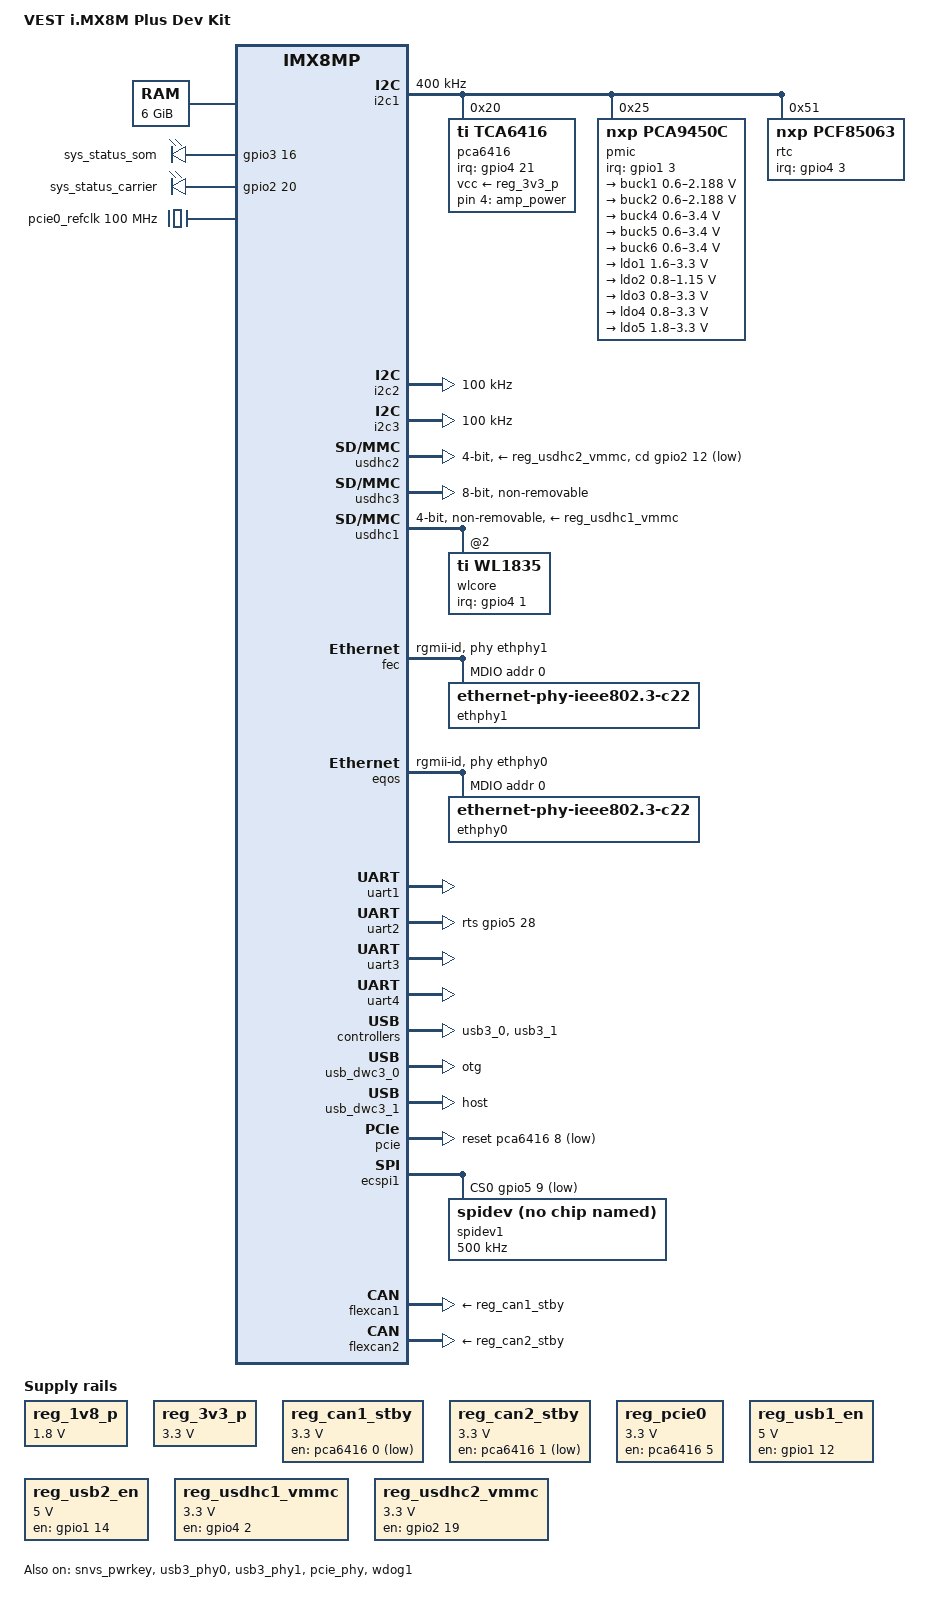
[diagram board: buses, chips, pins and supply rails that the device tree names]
// SPDX-License-Identifier: (GPL-2.0-or-later OR MIT)
/*
 * The VEST i.MX8M Plus Dev Kit consists of a carrier board and
 * a SOM (of SO-DIMM type, not SMARC).
 *
 * Copyright (C) 2023 VEST
 */

/dts-v1/;

#include <dt-bindings/net/ti-dp83867.h>
#include <dt-bindings/phy/phy-imx8-pcie.h>
#include <dt-bindings/usb/pd.h>
#include "imx8mp.dtsi"

/ {
	model = "VEST i.MX8M Plus Dev Kit";
	compatible = "vest,e2i-plus", "fsl,imx8mp-evk", "fsl,imx8mp";

	chosen {
		bootargs = "console=ttymxc0,115200 earlycon=ec_imx6q,0x30860000,115200";
		stdout-path = &uart1;
	};

	memory@40000000 {
		device_type = "memory";
		reg = <0x0 0x40000000 0 0xc0000000>,
		      <0x1 0x00000000 0 0xc0000000>;
	};

	gpio_leds: gpio-leds {
		compatible = "gpio-leds";
		pinctrl-names = "default";
		pinctrl-0 = <&pinctrl_gpio_led>;

	        amp_power {
		        gpios = <&pca6416 4 GPIO_ACTIVE_HIGH>;
		        default-state = "off";
	        };

		sys_status_som {
			gpios = <&gpio3 16 GPIO_ACTIVE_HIGH>;
			default-state = "on";
		};

		sys_status_carrier {
			gpios = <&gpio2 20 GPIO_ACTIVE_HIGH>;
			default-state = "on";
		};
	};

	pcie0_refclk: pcie0-refclk {
		compatible = "fixed-clock";
		#clock-cells = <0>;
		clock-frequency = <100000000>;
	};

	reg_1v8_p: regulator-1v8-p {
		compatible = "regulator-fixed";
		regulator-name = "1v8_p";
		regulator-min-microvolt = <1800000>;
		regulator-max-microvolt = <1800000>;
	};

	reg_3v3_p: regulator-3v3-p {
		compatible = "regulator-fixed";
		regulator-name = "3v3_p";
		regulator-min-microvolt = <3300000>;
		regulator-max-microvolt = <3300000>;
	};

	reg_can1_stby: regulator-can1-stby {
		compatible = "regulator-fixed";
		regulator-name = "can1-stby";
		pinctrl-names = "default";
		pinctrl-0 = <&pinctrl_flexcan1_reg>;
		regulator-min-microvolt = <3300000>;
		regulator-max-microvolt = <3300000>;
		gpio = <&pca6416 0 GPIO_ACTIVE_LOW>;
	};

	reg_can2_stby: regulator-can2-stby {
		compatible = "regulator-fixed";
		regulator-name = "can2-stby";
		pinctrl-names = "default";
		pinctrl-0 = <&pinctrl_flexcan2_reg>;
		regulator-min-microvolt = <3300000>;
		regulator-max-microvolt = <3300000>;
		gpio = <&pca6416 1 GPIO_ACTIVE_LOW>;
	};

	reg_pcie0: regulator-pcie {
		compatible = "regulator-fixed";
		pinctrl-names = "default";
		pinctrl-0 = <&pinctrl_pcie0_reg>;
		regulator-name = "MPCIE_3V3";
		regulator-min-microvolt = <3300000>;
		regulator-max-microvolt = <3300000>;
		gpio = <&pca6416 5 GPIO_ACTIVE_HIGH>;
		enable-active-high;
		regulator-always-on;
	};

	reg_usb1_en: regulator-usb1-en {
		compatible = "regulator-fixed";
		regulator-name = "usb1-en";
		pinctrl-names = "default";
		pinctrl-0 = <&pinctrl_usb1en>;
		regulator-min-microvolt = <5000000>;
		regulator-max-microvolt = <5000000>;
		gpio = <&gpio1 12 GPIO_ACTIVE_HIGH>;
		enable-active-high;
		status = "okay";
	};

	reg_usb2_en: regulator-usb2-en {
		compatible = "regulator-fixed";
		regulator-name = "usb2-en";
		pinctrl-names = "default";
		pinctrl-0 = <&pinctrl_usb2en>;
		regulator-min-microvolt = <5000000>;
		regulator-max-microvolt = <5000000>;
		gpio = <&gpio1 14 GPIO_ACTIVE_HIGH>;
		enable-active-high;
		status = "okay";
	};

	reg_usdhc1_vmmc: regulator-usdhc1 {
		compatible = "regulator-fixed";
		pinctrl-names = "default";
		pinctrl-0 = <&pinctrl_reg_usdhc1_vmmc>;
		regulator-name = "usdhc1_vmmc";
		regulator-min-microvolt = <3300000>;
		regulator-max-microvolt = <3300000>;
		gpio = <&gpio4 2 GPIO_ACTIVE_HIGH>;
		enable-active-high;
		startup-delay-us = <1000000>;
	};

	reg_usdhc2_vmmc: regulator-usdhc2 {
		compatible = "regulator-fixed";
		pinctrl-names = "default";
		pinctrl-0 = <&pinctrl_reg_usdhc2_vmmc>;
		regulator-name = "usdhc2_vmmc";
		regulator-min-microvolt = <3300000>;
		regulator-max-microvolt = <3300000>;
		gpio = <&gpio2 19 GPIO_ACTIVE_HIGH>;
		enable-active-high;
	};
};

&i2c1 {
	clock-frequency = <400000>;
	pinctrl-names = "default";
	pinctrl-0 = <&pinctrl_i2c1>;
	status = "okay";

	pca6416: gpio@20 {
                /* MAXIM/NXP/TI PCA95xx I2C GPIO multiplexer */
		compatible = "ti,tca6416";
		reg = <0x20>;
                vcc-supply = <&reg_3v3_p>;
		gpio-controller;
		#gpio-cells = <2>;
		interrupt-controller;
		#interrupt-cells = <2>;
		pinctrl-names = "default";
		pinctrl-0 = <&pinctrl_gpio>;
		interrupt-parent = <&gpio4>;
		interrupts = <21 IRQ_TYPE_LEVEL_LOW>;
	};

	pmic: pca9450@25 {
		compatible = "nxp,pca9450c";
		reg = <0x25>;
		/* PMIC PCA9450 PMIC_nINT GPIO1_IO3 */
		pinctrl-names = "default";
		pinctrl-0 = <&pinctrl_pmic>;
		interrupt-parent = <&gpio1>;
		interrupts = <3 GPIO_ACTIVE_LOW>;

		pmic_regulators: regulators {
			buck1: BUCK1 {
				regulator-name = "BUCK1";
				regulator-min-microvolt = <600000>;
				regulator-max-microvolt = <2187500>;
				regulator-boot-on;
				regulator-always-on;
				regulator-ramp-delay = <3125>;
			};

			buck2: BUCK2 {
				regulator-name = "BUCK2";
				regulator-min-microvolt = <600000>;
				regulator-max-microvolt = <2187500>;
				regulator-boot-on;
				regulator-always-on;
				regulator-ramp-delay = <3125>;
				nxp,dvs-run-voltage = <950000>;
				nxp,dvs-standby-voltage = <850000>;
			};

			buck4: BUCK4{
				regulator-name = "BUCK4";
				regulator-min-microvolt = <600000>;
				regulator-max-microvolt = <3400000>;
				regulator-boot-on;
				regulator-always-on;
			};

			buck5: BUCK5{
				regulator-name = "BUCK5";
				regulator-min-microvolt = <600000>;
				regulator-max-microvolt = <3400000>;
				regulator-boot-on;
				regulator-always-on;
			};

			buck6: BUCK6 {
				regulator-name = "BUCK6";
				regulator-min-microvolt = <600000>;
				regulator-max-microvolt = <3400000>;
				regulator-boot-on;
				regulator-always-on;
			};

			ldo1: LDO1 {
				regulator-name = "LDO1";
				regulator-min-microvolt = <1600000>;
				regulator-max-microvolt = <3300000>;
				regulator-boot-on;
				regulator-always-on;
			};

			ldo2: LDO2 {
				regulator-name = "LDO2";
				regulator-min-microvolt = <800000>;
				regulator-max-microvolt = <1150000>;
				regulator-boot-on;
				regulator-always-on;
			};

			ldo3: LDO3 {
				regulator-name = "LDO3";
				regulator-min-microvolt = <800000>;
				regulator-max-microvolt = <3300000>;
				regulator-boot-on;
				regulator-always-on;
			};

			ldo4: LDO4 {
				regulator-name = "LDO4";
				regulator-min-microvolt = <800000>;
				regulator-max-microvolt = <3300000>;
				regulator-boot-on;
				regulator-always-on;
			};

			ldo5: LDO5 {
				regulator-name = "LDO5";
				regulator-min-microvolt = <1800000>;
				regulator-max-microvolt = <3300000>;
				regulator-boot-on;
				regulator-always-on;
			};
		};
	};

	rtc: pcf85063@51 {
		compatible = "nxp,pcf85063";
		pinctrl-names = "default";
		pinctrl-0 = <&pinctrl_rtc_pcf85063>;
		reg = <0x51>;
		interrupt-parent = <&gpio4>;
		interrupts = <3 2>;
		status = "okay";
	};
};

&i2c2 {
	clock-frequency = <100000>;
	pinctrl-names = "default";
	pinctrl-0 = <&pinctrl_i2c2>;
	status = "okay";

        /* mipi_dsi (disabled as hardware unavailable at the moment) */
	adv_bridge: adv7535@3d {
		compatible = "adi,adv7535";
		reg = <0x3d>;
		adi,addr-cec = <0x3b>;
		adi,dsi-lanes = <4>;
		status = "disabled";
	};

	LVDS1_TOUCH: egalax@2a {
		compatible = "eeti,egalax_ts";
		reg = <0x2a>;
		interrupt-parent = <&gpio4>;
		interrupts = <22 2>;
		status = "disabled";
	};

	LVDS2_TOUCH: ili251x@41 {
		compatible = "ili251x";
		reg = <0x41>;
		interrupt-parent = <&gpio4>;
		interrupts = <22 IRQ_TYPE_EDGE_FALLING>;
		max-fingers = <6>;
		status = "disabled";
	};

	LVDS4_TOUCH: goodix@5d {
		compatible = "goodix,gt928";
		reg = <0x5d>;
		interrupt-parent = <&gpio4>;
		interrupts = <22 2>;
		/*reset-gpios = <&gpio4 0 0>;*/
		irq-flags = <2>;
		status = "disabled";
	};

	LVDS5_TOUCH: sitronix@55 {
		compatible = "sitronix,st1633i";
		reg = <0x55>;
		interrupt-parent = <&gpio4>;
		interrupts = <22 2>;
		sitronix,reset-gpios = <&gpio4 0 0>;
		sitronix,interrupt-gpios = <&gpio4 22 0>;
		sitronix,panel-coords = <0 0 1024 600>;
		sitronix,display-coords = <0 0 1024 600>;
		status = "disabled";
	};
};

&i2c3 {
	clock-frequency = <100000>;
	pinctrl-names = "default";
	pinctrl-0 = <&pinctrl_i2c3>;
	status = "okay";
};

&A53_0 {
	cpu-supply = <&buck2>;
};

&A53_1 {
	cpu-supply = <&buck2>;
};

&A53_2 {
	cpu-supply = <&buck2>;
};

&A53_3 {
	cpu-supply = <&buck2>;
};

&snvs_pwrkey {
	status = "okay";
};

&usdhc2 {
	assigned-clocks = <&clk IMX8MP_CLK_USDHC2>;
	assigned-clock-rates = <400000000>;
	pinctrl-names = "default", "state_100mhz", "state_200mhz";
	pinctrl-0 = <&pinctrl_usdhc2>, <&pinctrl_usdhc2_gpio>;
	pinctrl-1 = <&pinctrl_usdhc2_100mhz>, <&pinctrl_usdhc2_gpio>;
	pinctrl-2 = <&pinctrl_usdhc2_200mhz>, <&pinctrl_usdhc2_gpio>;
	cd-gpios = <&gpio2 12 GPIO_ACTIVE_LOW>;
	vmmc-supply = <&reg_usdhc2_vmmc>;
	bus-width = <4>;
	status = "okay";
};

&usdhc3 {
	assigned-clocks = <&clk IMX8MP_CLK_USDHC3>;
	assigned-clock-rates = <400000000>;
	pinctrl-names = "default", "state_100mhz", "state_200mhz";
	pinctrl-0 = <&pinctrl_usdhc3>;
	pinctrl-1 = <&pinctrl_usdhc3_100mhz>;
	pinctrl-2 = <&pinctrl_usdhc3_200mhz>;
	bus-width = <8>;
	non-removable;
	status = "okay";
};

&usdhc1 {
	assigned-clocks = <&clk IMX8MP_CLK_USDHC1>;
	assigned-clock-rates = <400000000>;
	pinctrl-names = "default", "state_100mhz", "state_200mhz";
	pinctrl-0 = <&pinctrl_usdhc1>;
	pinctrl-1 = <&pinctrl_usdhc1_100mhz>;
	pinctrl-2 = <&pinctrl_usdhc1_200mhz>;
	vmmc-supply = <&reg_usdhc1_vmmc>;
	bus-width = <4>;
	keep-power-in-suspend;
	enable-sdio-wakeup;
	cap-power-off-card;
	non-removable;
	#address-cells = <0x1>;
	#size-cells = <0x0>;
	status = "okay";

	wlcore: wlcore@0 {
		compatible = "ti,wl1835";
		reg = <2>;
		platform-quirks = <1>;
		interrupt-parent = <&gpio4>;
		interrupts = <1 IRQ_TYPE_EDGE_RISING>;
	};
};

/* eth0 (cn5, fec) */
&fec {
	pinctrl-names = "default";
	pinctrl-0 = <&pinctrl_fec>;
	phy-handle = <&ethphy1>;
	phy-mode = "rgmii-id";
	fsl,magic-packet;
	status = "okay";

	mdio {
		#address-cells = <1>;
		#size-cells = <0>;

		ethphy1: ethernet-phy@0 {
			compatible = "ethernet-phy-ieee802.3-c22";
			reg = <0>;
			eee-broken-1000t;
			ti,clk-output-sel = <DP83867_CLK_O_SEL_OFF>;
			ti,fifo-depth = <DP83867_PHYCR_FIFO_DEPTH_4_B_NIB>;
			ti,min-output-impedance;
			ti,rx-internal-delay = <DP83867_RGMIIDCTL_2_00_NS>;
			ti,tx-internal-delay = <DP83867_RGMIIDCTL_2_00_NS>;
		};
	};
};

/* eth1 (cn5, eqos) */
&eqos {
	pinctrl-names = "default";
	pinctrl-0 = <&pinctrl_eqos>;
	phy-mode = "rgmii-id";
	phy-handle = <&ethphy0>;
	status = "okay";

	mdio {
		compatible = "snps,dwmac-mdio";
		#address-cells = <1>;
		#size-cells = <0>;

		ethphy0: ethernet-phy@0 {
			compatible = "ethernet-phy-ieee802.3-c22";
			reg = <0>;
			eee-broken-1000t;
			ti,clk-output-sel = <DP83867_CLK_O_SEL_OFF>;
			ti,fifo-depth = <DP83867_PHYCR_FIFO_DEPTH_4_B_NIB>;
			ti,min-output-impedance;
			ti,rx-internal-delay = <DP83867_RGMIIDCTL_2_00_NS>;
			ti,tx-internal-delay = <DP83867_RGMIIDCTL_2_00_NS>;
		};
	};
};

/* uart1 (console) */
&uart1 {
	pinctrl-names = "default";
	pinctrl-0 = <&pinctrl_uart1>;
	/delete-property/ dmas;
	/delete-property/ dma-names;
	/delete-property/ fsl,uart-has-rtscts;
	status = "okay";
};

/* uart2 (rs485/rs232, rs485 default) */
&uart2 {
	pinctrl-names = "default";
	pinctrl-0 = <&pinctrl_uart2>;
	assigned-clocks = <&clk IMX8MP_CLK_UART2>;
	assigned-clock-parents = <&clk IMX8MP_SYS_PLL1_80M>;
	dmas = <&sdma1 24 4 0>, <&sdma1 25 4 0>;
	dma-names = "rx", "tx";
	linux,rs485-enabled-at-boot-time;
	rts-gpios = <&gpio5 28 GPIO_ACTIVE_HIGH>;
	status = "okay";
};

/* uart3 (bluetooth) */
&uart3 {
	pinctrl-names = "default";
	pinctrl-0 = <&pinctrl_uart3>;
	assigned-clocks = <&clk IMX8MP_CLK_UART3>;
	assigned-clock-parents = <&clk IMX8MP_SYS_PLL1_80M>;
	fsl,uart-has-rtscts;
	status = "okay";
};

/* uart4 (m4 core console, disable it before running m4 core application from u-boot) */
&uart4 {
	pinctrl-names = "default";
	pinctrl-0 = <&pinctrl_uart4>;
	status = "okay";
};

/* usb1 (type c, otg/host) */
&usb3_phy0 {
	vbus-supply = <&reg_usb1_en>;
	fsl,phy-tx-vref-tune = <0xe>;
	fsl,phy-tx-preemp-amp-tune = <3>;
	fsl,phy-tx-vboost-level = <5>;
	fsl,phy-comp-dis-tune = <7>;
	fsl,pcs-tx-deemph-3p5db = <0x21>;
	fsl,phy-pcs-tx-swing-full = <0x7f>;
	status = "okay";
};

&usb3_0 {
	status = "okay";
};

&usb_dwc3_0 {
	dr_mode = "otg";
	hnp-disable;
	srp-disable;
	adp-disable;
	usb-role-switch;
	role-switch-default-mode = "none";
	snps,dis-u1-entry-quirk;
	snps,dis-u2-entry-quirk;
	status = "okay";
};

/* usb2 (type a, host) */
&usb3_phy1 {
	vbus-supply = <&reg_usb2_en>;
	fsl,phy-tx-preemp-amp-tune = <3>;
	fsl,phy-tx-vref-tune = <0xb>;
	status = "okay";
};

&usb3_1 {
	status = "okay";
};

&usb_dwc3_1 {
	dr_mode = "host";
	status = "okay";
};

&pcie {
	pinctrl-names = "default";
	pinctrl-0 = <&pinctrl_pcie0>;
	reset-gpio = <&pca6416 8 GPIO_ACTIVE_LOW>;
	clocks = <&clk IMX8MP_CLK_HSIO_ROOT>,
        	 <&clk IMX8MP_CLK_PCIE_ROOT>,
        	 <&clk IMX8MP_CLK_HSIO_AXI>;
	clock-names = "pcie", "pcie_aux", "pcie_bus";
	assigned-clocks = <&clk IMX8MP_CLK_PCIE_AUX>;
	assigned-clock-rates = <10000000>;
	assigned-clock-parents = <&clk IMX8MP_SYS_PLL2_50M>;
	vpcie-supply = <&reg_pcie0>;
	status = "okay";
};

/*
 * Erratum ERR051128:  For any end product system that does not have EP
 * connected currently however plans to use PCI Express in the future,
 * the PCI Express clocks and power supplies must be kept on by default
 * as described in the Known Issues/Limitations chapter of the NXP i.MX
 * Linux Release Notes, Rev. LF5.10.52_2.1.0 and beyond.
 */

&pcie_ep {
	status = "disabled";
};

&pcie_phy {
	fsl,refclk-pad-mode = <IMX8_PCIE_REFCLK_PAD_INPUT>;
	clocks = <&pcie0_refclk>;
	clock-names = "ref";
	status = "okay";
};

/* spi1 (not tested as test points are under SOM) */
&ecspi1 {
	#address-cells = <1>;
	#size-cells = <0>;
	fsl,spi-num-chipselects = <1>;
	pinctrl-names = "default";
	pinctrl-0 = <&pinctrl_ecspi1 &pinctrl_ecspi1_cs>;
	cs-gpios = <&gpio5 9 GPIO_ACTIVE_LOW>;
	status = "okay";

	spidev1: spi@0 {
		reg = <0>;
		compatible = "rohm,dh2228fv";
		spi-max-frequency = <500000>;
	};
};

&flexcan1 {
	pinctrl-names = "default";
	pinctrl-0 = <&pinctrl_flexcan1>;
	xceiver-supply = <&reg_can1_stby>;
	status = "okay";
};

&flexcan2 {
	pinctrl-names = "default";
	pinctrl-0 = <&pinctrl_flexcan2>;
	xceiver-supply = <&reg_can2_stby>;
	status = "okay";
};

&wdog1 {
	pinctrl-names = "default";
	pinctrl-0 = <&pinctrl_wdog>;
	fsl,ext-reset-output;
	status = "okay";
};

/* Not disabled in .dtsi file, but this might change in the future. */
&sdma2 {
        /* Note: needs firmware imx/sdma/sdma-imx7d.bin */
	status = "okay";
};

&clk {
	clocks = <&osc_32k>, <&osc_24m>, <&clk_ext1>, <&clk_ext2>, <&clk_ext3>, <&clk_ext4>;
	clock-names = "osc_32k", "osc_24m", "clk_ext1", "clk_ext2", "clk_ext3", "clk_ext4";
};

&iomuxc {
	pinctrl_ecspi1: ecspi1grp {
		fsl,pins = <
			MX8MP_IOMUXC_ECSPI1_SCLK__ECSPI1_SCLK	0x82
			MX8MP_IOMUXC_ECSPI1_MOSI__ECSPI1_MOSI	0x82
			MX8MP_IOMUXC_ECSPI1_MISO__ECSPI1_MISO	0x82
		>;
	};

	pinctrl_ecspi1_cs: ecspi1cs {
		fsl,pins = <
			MX8MP_IOMUXC_ECSPI1_SS0__GPIO5_IO09	0x40000
		>;
	};

	pinctrl_eqos: eqosgrp {
		fsl,pins = <
			MX8MP_IOMUXC_ENET_MDC__ENET_QOS_MDC				0x2
			MX8MP_IOMUXC_ENET_MDIO__ENET_QOS_MDIO				0x2
			MX8MP_IOMUXC_ENET_RD0__ENET_QOS_RGMII_RD0			0x90
			MX8MP_IOMUXC_ENET_RD1__ENET_QOS_RGMII_RD1			0x90
			MX8MP_IOMUXC_ENET_RD2__ENET_QOS_RGMII_RD2			0x90
			MX8MP_IOMUXC_ENET_RD3__ENET_QOS_RGMII_RD3			0x90
			MX8MP_IOMUXC_ENET_RXC__CCM_ENET_QOS_CLOCK_GENERATE_RX_CLK	0x90
			MX8MP_IOMUXC_ENET_RX_CTL__ENET_QOS_RGMII_RX_CTL			0x90
			MX8MP_IOMUXC_ENET_TD0__ENET_QOS_RGMII_TD0			0x16
			MX8MP_IOMUXC_ENET_TD1__ENET_QOS_RGMII_TD1			0x16
			MX8MP_IOMUXC_ENET_TD2__ENET_QOS_RGMII_TD2			0x16
			MX8MP_IOMUXC_ENET_TD3__ENET_QOS_RGMII_TD3			0x16
			MX8MP_IOMUXC_ENET_TX_CTL__ENET_QOS_RGMII_TX_CTL			0x16
			MX8MP_IOMUXC_ENET_TXC__CCM_ENET_QOS_CLOCK_GENERATE_TX_CLK	0x16
		>;
	};

	pinctrl_fec: fecgrp {
		fsl,pins = <
			MX8MP_IOMUXC_SAI1_RXD2__ENET1_MDC		0x2
			MX8MP_IOMUXC_SAI1_RXD3__ENET1_MDIO		0x2
			MX8MP_IOMUXC_SAI1_RXD4__ENET1_RGMII_RD0		0x90
			MX8MP_IOMUXC_SAI1_RXD5__ENET1_RGMII_RD1		0x90
			MX8MP_IOMUXC_SAI1_RXD6__ENET1_RGMII_RD2		0x90
			MX8MP_IOMUXC_SAI1_RXD7__ENET1_RGMII_RD3		0x90
			MX8MP_IOMUXC_SAI1_TXC__ENET1_RGMII_RXC		0x90
			MX8MP_IOMUXC_SAI1_TXFS__ENET1_RGMII_RX_CTL	0x90
			MX8MP_IOMUXC_SAI1_TXD0__ENET1_RGMII_TD0		0x16
			MX8MP_IOMUXC_SAI1_TXD1__ENET1_RGMII_TD1		0x16
			MX8MP_IOMUXC_SAI1_TXD2__ENET1_RGMII_TD2		0x16
			MX8MP_IOMUXC_SAI1_TXD3__ENET1_RGMII_TD3		0x16
			MX8MP_IOMUXC_SAI1_TXD4__ENET1_RGMII_TX_CTL	0x16
			MX8MP_IOMUXC_SAI1_TXD5__ENET1_RGMII_TXC		0x16
		>;
	};

	pinctrl_flexcan1: flexcan1grp {
		fsl,pins = <
			MX8MP_IOMUXC_SPDIF_RX__CAN1_RX          0x154
			MX8MP_IOMUXC_SPDIF_TX__CAN1_TX          0x154
		>;
	};

	pinctrl_flexcan2: flexcan2grp {
		fsl,pins = <
			MX8MP_IOMUXC_UART3_TXD__CAN2_RX		0x154
			MX8MP_IOMUXC_UART3_RXD__CAN2_TX		0x154
		>;
	};

	pinctrl_flexcan1_reg: flexcan1reggrp {
		fsl,pins = <
			MX8MP_IOMUXC_SPDIF_EXT_CLK__GPIO5_IO05  0x154   /* CAN1_STBY */
		>;
	};

	pinctrl_flexcan2_reg: flexcan2reggrp {
		fsl,pins = <
			MX8MP_IOMUXC_SAI2_MCLK__GPIO4_IO27      0x154   /* CAN2_STBY */
		>;
	};

        pinctrl_gpio: gpiogrp {
		fsl,pins = <
			MX8MP_IOMUXC_SAI2_RXFS__GPIO4_IO21	0x19
		>;
	};

	pinctrl_gpio_led: gpioledgrp {
		fsl,pins = <
			MX8MP_IOMUXC_NAND_READY_B__GPIO3_IO16	0x19
			MX8MP_IOMUXC_SD2_WP__GPIO2_IO20		0x19
		>;
	};

	pinctrl_i2c1: i2c1grp {
		fsl,pins = <
			MX8MP_IOMUXC_I2C1_SCL__I2C1_SCL		0x400001c2
			MX8MP_IOMUXC_I2C1_SDA__I2C1_SDA		0x400001c2
		>;
	};

	pinctrl_i2c2: i2c2grp {
		fsl,pins = <
			MX8MP_IOMUXC_I2C2_SCL__I2C2_SCL		0x400001c2
			MX8MP_IOMUXC_I2C2_SDA__I2C2_SDA		0x400001c2
		>;
	};

	pinctrl_i2c3: i2c3grp {
		fsl,pins = <
			MX8MP_IOMUXC_I2C3_SCL__I2C3_SCL		0x400001c2
			MX8MP_IOMUXC_I2C3_SDA__I2C3_SDA		0x400001c2
		>;
	};

	pinctrl_pcie0: pciegrp {
		fsl,pins = <
			MX8MP_IOMUXC_I2C4_SCL__PCIE_CLKREQ_B	0x61
			MX8MP_IOMUXC_GPIO1_IO05__GPIO1_IO05	0x19
		>;
	};

	pinctrl_pcie0_reg: pcie0reggrp {
		fsl,pins = <
			MX8MP_IOMUXC_SD1_DATA4__GPIO2_IO06	0x40
		>;
	};

	pinctrl_pmic: pmicirq {
		fsl,pins = <
			MX8MP_IOMUXC_GPIO1_IO03__GPIO1_IO03	0x41
		>;
	};

	pinctrl_reg_usdhc1_vmmc: regusdhc1vmmcgrp {
		fsl,pins = <
			MX8MP_IOMUXC_SAI1_RXD0__GPIO4_IO02	0x41
			MX8MP_IOMUXC_SAI1_RXC__GPIO4_IO01	0x41
		>;
	};

	pinctrl_reg_usdhc2_vmmc: regusdhc2vmmcgrp {
		fsl,pins = <
			MX8MP_IOMUXC_SD2_RESET_B__GPIO2_IO19	0x41
		>;
	};

	pinctrl_rtc_pcf85063: rtc_pcf85063_grp {
		fsl,pins = <
			MX8MP_IOMUXC_SAI1_RXD1__GPIO4_IO03	0x19
		>;
	};

	pinctrl_uart1: uart1grp {
		fsl,pins = <
			MX8MP_IOMUXC_UART1_RXD__UART1_DCE_RX	0x80000000
			MX8MP_IOMUXC_UART1_TXD__UART1_DCE_TX	0x80000000
		>;
	};

	pinctrl_uart2: uart2grp {
		fsl,pins = <
			MX8MP_IOMUXC_UART2_RXD__UART2_DCE_RX	0x49
			MX8MP_IOMUXC_UART2_TXD__UART2_DCE_TX	0x49
			MX8MP_IOMUXC_UART4_RXD__GPIO5_IO28	0x19
		>;
	};

	pinctrl_uart3: uart3grp {
		fsl,pins = <
			MX8MP_IOMUXC_SD1_DATA7__UART3_DCE_RX	0x140
			MX8MP_IOMUXC_SD1_DATA6__UART3_DCE_TX	0x140
			MX8MP_IOMUXC_SD1_RESET_B__UART3_DCE_RTS	0x140
			MX8MP_IOMUXC_SD1_STROBE__UART3_DCE_CTS	0x140
		>;
	};

	pinctrl_uart4: uart4grp {
		fsl,pins = <
			MX8MP_IOMUXC_ECSPI2_SCLK__UART4_DCE_RX	0x140
			MX8MP_IOMUXC_ECSPI2_MOSI__UART4_DCE_TX	0x140
		>;
	};

	pinctrl_usb1en: usb1ngrp {
		fsl,pins = <
			MX8MP_IOMUXC_GPIO1_IO12__GPIO1_IO12	0x19
		>;
	};

	pinctrl_usb2en: usb2ngrp {
		fsl,pins = <
			MX8MP_IOMUXC_GPIO1_IO14__GPIO1_IO14	0x19
			MX8MP_IOMUXC_GPIO1_IO11__USB2_OTG_ID	0x19
		>;
	};

	pinctrl_usdhc1: usdhc1grp {
		fsl,pins = <
			MX8MP_IOMUXC_SD1_CLK__USDHC1_CLK	0x190
			MX8MP_IOMUXC_SD1_CMD__USDHC1_CMD	0x1d0
			MX8MP_IOMUXC_SD1_DATA0__USDHC1_DATA0	0x1d0
			MX8MP_IOMUXC_SD1_DATA1__USDHC1_DATA1	0x1d0
			MX8MP_IOMUXC_SD1_DATA2__USDHC1_DATA2	0x1d0
			MX8MP_IOMUXC_SD1_DATA3__USDHC1_DATA3	0x1d0
		>;
	};

	pinctrl_usdhc1_100mhz: usdhc1-100mhzgrp {
		fsl,pins = <
			MX8MP_IOMUXC_SD1_CLK__USDHC1_CLK	0x194
			MX8MP_IOMUXC_SD1_CMD__USDHC1_CMD	0x1d4
			MX8MP_IOMUXC_SD1_DATA0__USDHC1_DATA0	0x1d4
			MX8MP_IOMUXC_SD1_DATA1__USDHC1_DATA1	0x1d4
			MX8MP_IOMUXC_SD1_DATA2__USDHC1_DATA2	0x1d4
			MX8MP_IOMUXC_SD1_DATA3__USDHC1_DATA3	0x1d4
		>;
	};

	pinctrl_usdhc1_200mhz: usdhc1-200mhzgrp {
		fsl,pins = <
			MX8MP_IOMUXC_SD1_CLK__USDHC1_CLK	0x196
			MX8MP_IOMUXC_SD1_CMD__USDHC1_CMD	0x1d6
			MX8MP_IOMUXC_SD1_DATA0__USDHC1_DATA0	0x1d6
			MX8MP_IOMUXC_SD1_DATA1__USDHC1_DATA1	0x1d6
			MX8MP_IOMUXC_SD1_DATA2__USDHC1_DATA2	0x1d6
			MX8MP_IOMUXC_SD1_DATA3__USDHC1_DATA3	0x1d6
		>;
	};

	pinctrl_usdhc2: usdhc2grp {
		fsl,pins = <
			MX8MP_IOMUXC_SD2_CLK__USDHC2_CLK	0x190
			MX8MP_IOMUXC_SD2_CMD__USDHC2_CMD	0x1d0
			MX8MP_IOMUXC_SD2_DATA0__USDHC2_DATA0	0x1d0
			MX8MP_IOMUXC_SD2_DATA1__USDHC2_DATA1	0x1d0
			MX8MP_IOMUXC_SD2_DATA2__USDHC2_DATA2	0x1d0
			MX8MP_IOMUXC_SD2_DATA3__USDHC2_DATA3	0x1d0
			MX8MP_IOMUXC_GPIO1_IO04__USDHC2_VSELECT	0xc0
		>;
	};

	pinctrl_usdhc2_100mhz: usdhc2-100mhzgrp {
		fsl,pins = <
			MX8MP_IOMUXC_SD2_CLK__USDHC2_CLK	0x194
			MX8MP_IOMUXC_SD2_CMD__USDHC2_CMD	0x1d4
			MX8MP_IOMUXC_SD2_DATA0__USDHC2_DATA0	0x1d4
			MX8MP_IOMUXC_SD2_DATA1__USDHC2_DATA1	0x1d4
			MX8MP_IOMUXC_SD2_DATA2__USDHC2_DATA2	0x1d4
			MX8MP_IOMUXC_SD2_DATA3__USDHC2_DATA3	0x1d4
			MX8MP_IOMUXC_GPIO1_IO04__USDHC2_VSELECT 0xc0
		>;
	};

	pinctrl_usdhc2_200mhz: usdhc2-200mhzgrp {
		fsl,pins = <
			MX8MP_IOMUXC_SD2_CLK__USDHC2_CLK	0x196
			MX8MP_IOMUXC_SD2_CMD__USDHC2_CMD	0x1d6
			MX8MP_IOMUXC_SD2_DATA0__USDHC2_DATA0	0x1d6
			MX8MP_IOMUXC_SD2_DATA1__USDHC2_DATA1	0x1d6
			MX8MP_IOMUXC_SD2_DATA2__USDHC2_DATA2	0x1d6
			MX8MP_IOMUXC_SD2_DATA3__USDHC2_DATA3	0x1d6
			MX8MP_IOMUXC_GPIO1_IO04__USDHC2_VSELECT 0xc0
		>;
	};

	pinctrl_usdhc2_gpio: usdhc2gpiogrp {
		fsl,pins = <
			MX8MP_IOMUXC_SD2_CD_B__GPIO2_IO12	0x1c4
		>;
	};

	pinctrl_usdhc3: usdhc3grp {
		fsl,pins = <
			MX8MP_IOMUXC_NAND_WE_B__USDHC3_CLK	0x190
			MX8MP_IOMUXC_NAND_WP_B__USDHC3_CMD	0x1d0
			MX8MP_IOMUXC_NAND_DATA04__USDHC3_DATA0	0x1d0
			MX8MP_IOMUXC_NAND_DATA05__USDHC3_DATA1	0x1d0
			MX8MP_IOMUXC_NAND_DATA06__USDHC3_DATA2	0x1d0
			MX8MP_IOMUXC_NAND_DATA07__USDHC3_DATA3	0x1d0
			MX8MP_IOMUXC_NAND_RE_B__USDHC3_DATA4	0x1d0
			MX8MP_IOMUXC_NAND_CE2_B__USDHC3_DATA5	0x1d0
			MX8MP_IOMUXC_NAND_CE3_B__USDHC3_DATA6	0x1d0
			MX8MP_IOMUXC_NAND_CLE__USDHC3_DATA7	0x1d0
			MX8MP_IOMUXC_NAND_CE1_B__USDHC3_STROBE	0x190
		>;
	};

	pinctrl_usdhc3_100mhz: usdhc3-100mhzgrp {
		fsl,pins = <
			MX8MP_IOMUXC_NAND_WE_B__USDHC3_CLK	0x194
			MX8MP_IOMUXC_NAND_WP_B__USDHC3_CMD	0x1d4
			MX8MP_IOMUXC_NAND_DATA04__USDHC3_DATA0	0x1d4
			MX8MP_IOMUXC_NAND_DATA05__USDHC3_DATA1	0x1d4
			MX8MP_IOMUXC_NAND_DATA06__USDHC3_DATA2	0x1d4
			MX8MP_IOMUXC_NAND_DATA07__USDHC3_DATA3	0x1d4
			MX8MP_IOMUXC_NAND_RE_B__USDHC3_DATA4	0x1d4
			MX8MP_IOMUXC_NAND_CE2_B__USDHC3_DATA5	0x1d4
			MX8MP_IOMUXC_NAND_CE3_B__USDHC3_DATA6	0x1d4
			MX8MP_IOMUXC_NAND_CLE__USDHC3_DATA7	0x1d4
			MX8MP_IOMUXC_NAND_CE1_B__USDHC3_STROBE	0x194
		>;
	};

	pinctrl_usdhc3_200mhz: usdhc3-200mhzgrp {
		fsl,pins = <
			MX8MP_IOMUXC_NAND_WE_B__USDHC3_CLK	0x196
			MX8MP_IOMUXC_NAND_WP_B__USDHC3_CMD	0x1d6
			MX8MP_IOMUXC_NAND_DATA04__USDHC3_DATA0	0x1d6
			MX8MP_IOMUXC_NAND_DATA05__USDHC3_DATA1	0x1d6
			MX8MP_IOMUXC_NAND_DATA06__USDHC3_DATA2	0x1d6
			MX8MP_IOMUXC_NAND_DATA07__USDHC3_DATA3	0x1d6
			MX8MP_IOMUXC_NAND_RE_B__USDHC3_DATA4	0x1d6
			MX8MP_IOMUXC_NAND_CE2_B__USDHC3_DATA5	0x1d6
			MX8MP_IOMUXC_NAND_CE3_B__USDHC3_DATA6	0x1d6
			MX8MP_IOMUXC_NAND_CLE__USDHC3_DATA7	0x1d6
			MX8MP_IOMUXC_NAND_CE1_B__USDHC3_STROBE	0x196
		>;
	};

	pinctrl_wdog: wdoggrp {
		fsl,pins = <
			MX8MP_IOMUXC_GPIO1_IO02__WDOG1_WDOG_B	0xc6
		>;
	};
};
